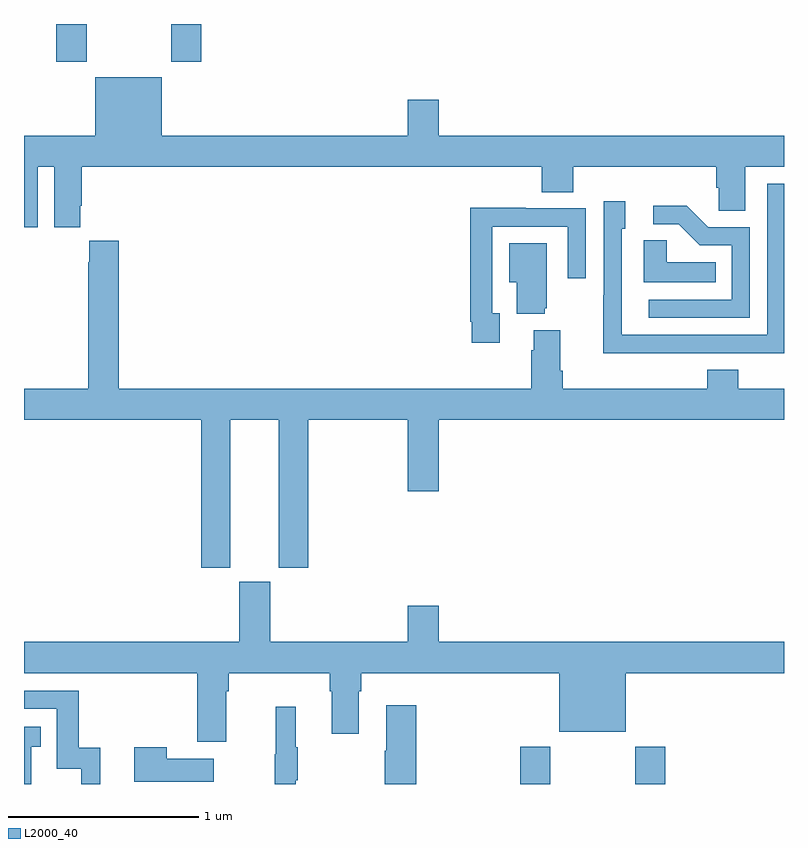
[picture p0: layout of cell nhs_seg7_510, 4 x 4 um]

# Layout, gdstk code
import gdstk
lib = gdstk.Library(unit=1e-6, precision=1e-09)
def R(c, l, rs):  # rectangles x0, y0, x1, y1
    for r in rs: c.add(gdstk.rectangle(r[:2], r[2:], *l))
def P(c, l, *ps):  # polygons
    for p in ps: c.add(gdstk.Polygon(p, *l))
L2000_40 = (2000, 40)

nhs_seg7_510 = lib.new_cell('nhs_seg7_510')
R(nhs_seg7_510, L2000_40, [(153.611,1032,153.771,1032.196), (154.216,1032,154.376,1032.196), (151.169,1035.801,151.329,1036), (151.774,1035.801,151.934,1036)])
P(nhs_seg7_510, L2000_40, [(151.072,1035.248),(151.16,1035.248),(151.16,1034.93),(151.297,1034.93),(151.297,1035.043),(151.304,1035.043),(151.304,1035.248),(153.725,1035.248),(153.725,1035.115),(153.89,1035.115),(153.89,1035.248),(154.643,1035.248),(154.643,1035.139),(154.656,1035.139),(154.656,1035.016),(154.795,1035.016),(154.795,1035.248),(155,1035.248),(155,1035.412),(153.184,1035.412),(153.184,1035.601),(153.02,1035.601),(153.02,1035.412),(151.726,1035.412),(151.726,1035.721),(151.376,1035.721),(151.376,1035.412),(151,1035.412),(151,1034.93),(151.072,1034.93)],
  [(154.511,1034.268),(155,1034.268),(155,1035.159),(154.911,1035.159),(154.911,1034.364),(154.146,1034.364),(154.146,1034.922),(154.165,1034.922),(154.165,1035.067),(154.05,1035.067),(154.05,1034.573),(154.048,1034.573),(154.048,1034.267),(154.511,1034.267)],
  [(154.821,1034.931),(154.602,1034.931),(154.489,1035.044),(154.311,1035.044),(154.311,1034.946),(154.445,1034.946),(154.556,1034.835),(154.725,1034.835),(154.725,1034.55),(154.287,1034.55),(154.287,1034.454),(154.821,1034.454)],
  [(153.505,1034.478),(153.465,1034.478),(153.465,1034.934),(153.861,1034.934),(153.861,1034.661),(153.957,1034.661),(153.957,1035.03),(153.641,1035.03),(153.641,1035.032),(153.349,1035.032),(153.349,1034.434),(153.357,1034.434),(153.357,1034.322),(153.505,1034.322)],
  [(154.64,1034.746),(154.383,1034.746),(154.383,1034.861),(154.262,1034.861),(154.262,1034.642),(154.64,1034.642)],
  [(152.086,1033.916),(152.342,1033.916),(152.342,1033.137),(152.495,1033.137),(152.495,1033.916),(153.02,1033.916),(153.02,1033.542),(153.184,1033.542),(153.184,1033.916),(155,1033.916),(155,1034.08),(154.76,1034.08),(154.76,1034.179),(154.595,1034.179),(154.595,1034.08),(153.836,1034.08),(153.836,1034.176),(153.823,1034.176),(153.823,1034.389),(153.683,1034.389),(153.683,1034.282),(153.671,1034.282),(153.671,1034.08),(151.499,1034.08),(151.499,1034.86),(151.343,1034.86),(151.343,1034.747),(151.339,1034.747),(151.339,1034.08),(151,1034.08),(151,1033.916),(151.934,1033.916),(151.934,1033.137),(152.086,1033.137)],
  [(153.74,1034.505),(153.751,1034.505),(153.751,1034.845),(153.554,1034.845),(153.554,1034.642),(153.593,1034.642),(153.593,1034.474),(153.74,1034.474)],
  [(153.184,1032.937),(153.02,1032.937),(153.02,1032.748),(152.296,1032.748),(152.296,1033.065),(152.132,1033.065),(152.132,1032.748),(151,1032.748),(151,1032.584),(151.913,1032.584),(151.913,1032.222),(152.065,1032.222),(152.065,1032.488),(152.078,1032.488),(152.078,1032.584),(152.609,1032.584),(152.609,1032.488),(152.621,1032.488),(152.621,1032.264),(152.761,1032.264),(152.761,1032.488),(152.774,1032.488),(152.774,1032.584),(153.818,1032.584),(153.818,1032.275),(154.168,1032.275),(154.168,1032.584),(155,1032.584),(155,1032.748),(153.184,1032.748)],
  [(151.4,1032.19),(151.289,1032.19),(151.289,1032.492),(151,1032.492),(151,1032.396),(151.173,1032.396),(151.173,1032.081),(151.302,1032.081),(151.302,1032),(151.4,1032)],
  [(153.065,1032.415),(152.906,1032.415),(152.906,1032.176),(152.899,1032.176),(152.899,1032),(153.065,1032)],
  [(152.429,1032.019),(152.44,1032.019),(152.44,1032.193),(152.429,1032.193),(152.429,1032.406),(152.326,1032.406),(152.326,1032.156),(152.319,1032.156),(152.319,1032),(152.429,1032)],
  [(151.039,1032.195),(151.088,1032.195),(151.088,1032.301),(151,1032.301),(151,1032),(151.039,1032)],
  [(151.999,1032.133),(151.751,1032.133),(151.751,1032.193),(151.58,1032.193),(151.58,1032.011),(151.999,1032.011)])

lib.write_gds('nhs_seg7_510.gds')
